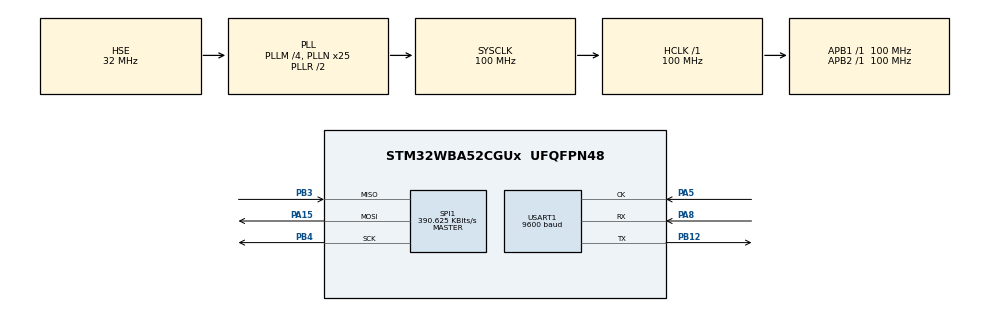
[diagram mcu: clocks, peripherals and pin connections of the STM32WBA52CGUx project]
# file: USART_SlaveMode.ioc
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CORTEX_M33_NS.userName=CORTEX_M33
Mcu.Family=STM32WBA
Mcu.Name=STM32WBA52CGUx
Mcu.Package=UFQFPN48
NVIC.PriorityGroup=NVIC_PRIORITYGROUP_4
OSC_IN.Mode=HSE-External-Oscillator
OSC_IN.Signal=RCC_OSC_IN
OSC_OUT.Mode=HSE-External-Oscillator
OSC_OUT.Signal=RCC_OSC_OUT
PA15\ (JTDI).GPIO_PuPd=GPIO_PULLDOWN
PA15\ (JTDI).GPIO_Speed=GPIO_SPEED_FREQ_HIGH
PA15\ (JTDI).Mode=Full_Duplex_Master
PA15\ (JTDI).Signal=SPI1_MOSI
PA5.GPIO_Speed=GPIO_SPEED_FREQ_HIGH
PA5.Mode=Synchronous Slave
PA5.Signal=USART1_CK
PA8.GPIO_Speed=GPIO_SPEED_FREQ_HIGH
PA8.Mode=Synchronous Slave
PA8.Signal=USART1_RX
PB12.GPIO_Speed=GPIO_SPEED_FREQ_HIGH
PB12.Mode=Synchronous Slave
PB12.Signal=USART1_TX
PB3\ (JTDO/TRACESWO).GPIO_PuPd=GPIO_PULLDOWN
PB3\ (JTDO/TRACESWO).GPIO_Speed=GPIO_SPEED_FREQ_HIGH
PB3\ (JTDO/TRACESWO).Mode=Full_Duplex_Master
PB3\ (JTDO/TRACESWO).Signal=SPI1_MISO
PB4\ (NJTRST).GPIO_PuPd=GPIO_PULLDOWN
PB4\ (NJTRST).GPIO_Speed=GPIO_SPEED_FREQ_HIGH
PB4\ (NJTRST).Mode=Full_Duplex_Master
PB4\ (NJTRST).Signal=SPI1_SCK
ProjectManager.HeapSize=0x200
ProjectManager.StackSize=0x400
ProjectManager.TargetToolchain=EWARM V9.20
RCC.ADCFreq_Value=100000000
RCC.AHB5CLKDivider=DIV4
RCC.AHBFreq_Value=100000000
RCC.APB1Freq_Value=100000000
RCC.APB1TimFreq_Value=100000000
RCC.APB2Freq_Value=100000000
RCC.APB2TimFreq_Value=100000000
RCC.CortexFreq_Value=100000000
RCC.HCLKFreq_Value=100000000
RCC.HSE_VALUE=32000000
RCC.HSI_VALUE=16000000
RCC.LSE_VALUE=32768
RCC.PLLFRACN=0
RCC.PLLM=4
RCC.PLLN=25
RCC.PLLSourceVirtual=RCC_PLLSOURCE_HSE
RCC.SYSCLKFreq_VALUE=100000000
RCC.SYSCLKSourceVirtual=RCC_SYSCLKSOURCE_PLLCLK
RCC.VCOOutputFreq_Value=200000000
SPI1.BaudRatePrescaler=SPI_BAUDRATEPRESCALER_256
SPI1.CalculateBaudRate=390.625 KBits/s
SPI1.DataSize=SPI_DATASIZE_8BIT
SPI1.Direction=SPI_DIRECTION_2LINES
SPI1.FirstBit=SPI_FIRSTBIT_LSB
SPI1.Mode=SPI_MODE_MASTER
SPI1.NSSPMode=SPI_NSS_PULSE_DISABLE
SPI1.VirtualType=VM_MASTER
USART1.BaudRate=9600
USART1.CLKLastBit=USART_LASTBIT_ENABLE
USART1.VirtualMode-Synchronous\ Slave=VM_SYNC
VP_ICACHE_VS_ICACHE.Mode=DirectMappedCache
VP_PWR_VS_SECSignals.Mode=Security/Privilege
board=custom

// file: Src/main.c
/* USER CODE BEGIN Header */
/**
  ******************************************************************************
  * @file    USART/USART_SlaveMode/Src/main.c
  * @author  MCD Application Team
  * @brief   This sample code shows how to use USART HAL API (USART instance)
  *          to set up a USART-SPI communication.
  *          Two boards are used, one configured as a SPI master and the second
  *          one configured as an USART slave.
  ******************************************************************************
  * @attention
  *
  * Copyright (c) 2022 STMicroelectronics.
  * All rights reserved.
  *
  * This software is licensed under terms that can be found in the LICENSE file
  * in the root directory of this software component.
  * If no LICENSE file comes with this software, it is provided AS-IS.
  *
  ******************************************************************************
  */
/* USER CODE END Header */
#include "main.h"

/* USER CODE BEGIN PD */
#define SLAVE_BOARD
/* USER CODE END PD */

SPI_HandleTypeDef hspi1;

USART_HandleTypeDef husart1;

/* USER CODE BEGIN PV */
__IO uint32_t UserButtonStatus = 0; /* set to 1 after User Button interrupt */

/* Buffer used for transmission */
uint8_t aTxBuffer[] = " **** USART_SlaveMode ****  **** USART_SlaveMode ****  **** USART_SlaveMode **** ";

/* Buffer used for reception */
uint8_t aRxBuffer[RXBUFFERSIZE];
/* USER CODE END PV */

void SystemClock_Config(void);
static void MX_GPIO_Init(void);
static void MX_SPI1_Init(void);
static void MX_USART1_Init(void);
static void MX_ICACHE_Init(void);
/* USER CODE BEGIN PFP */
static uint16_t Buffercmp(uint8_t* pBuffer1, uint8_t* pBuffer2, uint16_t BufferLength);
/* USER CODE END PFP */

int main(void)
{
  /* USER CODE BEGIN 1 */
  /* STM32WBAxx HAL library initialization:
       - Systick timer is configured by default as source of time base, but user
             can eventually implement his proper time base source (a general purpose
             timer for example or other time source), keeping in mind that Time base
             duration should be kept 1ms since PPP_TIMEOUT_VALUEs are defined and
             handled in milliseconds basis.
       - Set NVIC Group Priority to 4
       - Low Level Initialization
     */
  /* USER CODE END 1 */

  /* MCU Configuration--------------------------------------------------------*/

  /* Reset of all peripherals, Initializes the Flash interface and the Systick. */
  HAL_Init();

  /* Configure the system clock */
  SystemClock_Config();

  /* USER CODE BEGIN SysInit */
  /* Initialize BSP LEDs */
  BSP_LED_Init(LD2);
  BSP_LED_Init(LD3);
  /* USER CODE END SysInit */

  /* Initialize all configured peripherals */
  MX_GPIO_Init();
  MX_SPI1_Init();
  MX_USART1_Init();
  MX_ICACHE_Init();
  /* USER CODE BEGIN 2 */

#ifdef SLAVE_BOARD

  /*##-1- Start the transmission/reception process ###########################*/
  if(HAL_USART_TransmitReceive(&husart1, (uint8_t*)aTxBuffer, (uint8_t*)aRxBuffer, TXBUFFERSIZE, 0x1FFFFFF)!= HAL_OK)
  {
    Error_Handler();
  }

#else

  /*##-1- Configure the user button ##########################################*/

  /* Configure User push-button in Interrupt mode */
  BSP_PB_Init(B1, BUTTON_MODE_EXTI);

  /* Wait for User push-button press before starting the Communication.
     In the meantime, LD2 is blinking */
  while(UserButtonStatus == 0)
  {
    /* Toggle LD2 */
    BSP_LED_Toggle(LD2);
    HAL_Delay(100);
  }

  BSP_LED_Off(LD2);

  /*##-2- Start the transmission/reception process ###########################*/
  if(HAL_SPI_TransmitReceive(&hspi1, (uint8_t*)aTxBuffer, (uint8_t*)aRxBuffer, TXBUFFERSIZE, 5000)!= HAL_OK)
  {
    Error_Handler();
  }

#endif /* SLAVE_BOARD */

  /*##-3- Compare the sent and received buffers ##############################*/
  if(Buffercmp((uint8_t*)aTxBuffer,(uint8_t*)aRxBuffer,RXBUFFERSIZE))
  {
    Error_Handler();
  }

  /* Turn on LD2 if test passes then enter infinite loop */
  BSP_LED_On(LD2);

  /* The SPI Master board receives the message and sends it back */

  /* USER CODE END 2 */

  /* Infinite loop */
  while (1)
  {

  }
}

void SystemClock_Config(void)
{
  RCC_OscInitTypeDef RCC_OscInitStruct = {0};
  RCC_ClkInitTypeDef RCC_ClkInitStruct = {0};

  /** Configure the main internal regulator output voltage
  */
  if (HAL_PWREx_ControlVoltageScaling(PWR_REGULATOR_VOLTAGE_SCALE1) != HAL_OK)
  {
    Error_Handler();
  }

  /** Initializes the CPU, AHB and APB busses clocks
  */
  RCC_OscInitStruct.OscillatorType = RCC_OSCILLATORTYPE_HSE;
  RCC_OscInitStruct.HSEState = RCC_HSE_ON;
  RCC_OscInitStruct.HSEDiv = RCC_HSE_DIV1;
  RCC_OscInitStruct.PLL1.PLLState = RCC_PLL_ON;
  RCC_OscInitStruct.PLL1.PLLSource = RCC_PLLSOURCE_HSE;
  RCC_OscInitStruct.PLL1.PLLM = 4;
  RCC_OscInitStruct.PLL1.PLLN = 25;
  RCC_OscInitStruct.PLL1.PLLP = 2;
  RCC_OscInitStruct.PLL1.PLLQ = 2;
  RCC_OscInitStruct.PLL1.PLLR = 2;
  RCC_OscInitStruct.PLL1.PLLFractional = 0;
  if (HAL_RCC_OscConfig(&RCC_OscInitStruct) != HAL_OK)
  {
    Error_Handler();
  }

  /** Initializes the CPU, AHB and APB busses clocks
  */
  RCC_ClkInitStruct.ClockType = RCC_CLOCKTYPE_HCLK|RCC_CLOCKTYPE_SYSCLK
                              |RCC_CLOCKTYPE_PCLK1|RCC_CLOCKTYPE_PCLK2
                              |RCC_CLOCKTYPE_PCLK7|RCC_CLOCKTYPE_HCLK5;
  RCC_ClkInitStruct.SYSCLKSource = RCC_SYSCLKSOURCE_PLLCLK;
  RCC_ClkInitStruct.AHBCLKDivider = RCC_SYSCLK_DIV1;
  RCC_ClkInitStruct.APB1CLKDivider = RCC_HCLK_DIV1;
  RCC_ClkInitStruct.APB2CLKDivider = RCC_HCLK_DIV1;
  RCC_ClkInitStruct.APB7CLKDivider = RCC_HCLK_DIV1;
  RCC_ClkInitStruct.AHB5_PLL1_CLKDivider = RCC_SYSCLK_PLL1_DIV4;
  RCC_ClkInitStruct.AHB5_HSEHSI_CLKDivider = RCC_SYSCLK_HSEHSI_DIV1;

  if (HAL_RCC_ClockConfig(&RCC_ClkInitStruct, FLASH_LATENCY_3) != HAL_OK)
  {
    Error_Handler();
  }
}

static void MX_ICACHE_Init(void)
{

  /** Enable instruction cache in 1-way (direct mapped cache)
  */
  if (HAL_ICACHE_ConfigAssociativityMode(ICACHE_1WAY) != HAL_OK)
  {
    Error_Handler();
  }
  if (HAL_ICACHE_Enable() != HAL_OK)
  {
    Error_Handler();
  }

}

static void MX_SPI1_Init(void)
{

  SPI_AutonomousModeConfTypeDef HAL_SPI_AutonomousMode_Cfg_Struct = {0};

  /* SPI1 parameter configuration*/
  hspi1.Instance = SPI1;
  hspi1.Init.Mode = SPI_MODE_MASTER;
  hspi1.Init.Direction = SPI_DIRECTION_2LINES;
  hspi1.Init.DataSize = SPI_DATASIZE_8BIT;
  hspi1.Init.CLKPolarity = SPI_POLARITY_LOW;
  hspi1.Init.CLKPhase = SPI_PHASE_1EDGE;
  hspi1.Init.NSS = SPI_NSS_SOFT;
  hspi1.Init.BaudRatePrescaler = SPI_BAUDRATEPRESCALER_256;
  hspi1.Init.FirstBit = SPI_FIRSTBIT_LSB;
  hspi1.Init.TIMode = SPI_TIMODE_DISABLE;
  hspi1.Init.CRCCalculation = SPI_CRCCALCULATION_DISABLE;
  hspi1.Init.CRCPolynomial = 0x7;
  hspi1.Init.NSSPMode = SPI_NSS_PULSE_DISABLE;
  hspi1.Init.NSSPolarity = SPI_NSS_POLARITY_LOW;
  hspi1.Init.FifoThreshold = SPI_FIFO_THRESHOLD_01DATA;
  hspi1.Init.MasterSSIdleness = SPI_MASTER_SS_IDLENESS_00CYCLE;
  hspi1.Init.MasterInterDataIdleness = SPI_MASTER_INTERDATA_IDLENESS_00CYCLE;
  hspi1.Init.MasterReceiverAutoSusp = SPI_MASTER_RX_AUTOSUSP_DISABLE;
  hspi1.Init.MasterKeepIOState = SPI_MASTER_KEEP_IO_STATE_DISABLE;
  hspi1.Init.IOSwap = SPI_IO_SWAP_DISABLE;
  hspi1.Init.ReadyMasterManagement = SPI_RDY_MASTER_MANAGEMENT_INTERNALLY;
  hspi1.Init.ReadyPolarity = SPI_RDY_POLARITY_HIGH;
  if (HAL_SPI_Init(&hspi1) != HAL_OK)
  {
    Error_Handler();
  }
  HAL_SPI_AutonomousMode_Cfg_Struct.TriggerState = SPI_AUTO_MODE_DISABLE;
  if (HAL_SPIEx_SetConfigAutonomousMode(&hspi1, &HAL_SPI_AutonomousMode_Cfg_Struct) != HAL_OK)
  {
    Error_Handler();
  }

}

static void MX_USART1_Init(void)
{

  husart1.Instance = USART1;
  husart1.Init.BaudRate = 9600;
  husart1.Init.WordLength = USART_WORDLENGTH_8B;
  husart1.Init.StopBits = USART_STOPBITS_1;
  husart1.Init.Parity = USART_PARITY_NONE;
  husart1.Init.Mode = USART_MODE_TX_RX;
  husart1.Init.CLKPolarity = USART_POLARITY_LOW;
  husart1.Init.CLKPhase = USART_PHASE_1EDGE;
  husart1.Init.CLKLastBit = USART_LASTBIT_ENABLE;
  husart1.Init.ClockPrescaler = USART_PRESCALER_DIV1;
  husart1.SlaveMode = USART_SLAVEMODE_ENABLE;
  if (HAL_USART_Init(&husart1) != HAL_OK)
  {
    Error_Handler();
  }
  if (HAL_USARTEx_SetTxFifoThreshold(&husart1, USART_TXFIFO_THRESHOLD_1_8) != HAL_OK)
  {
    Error_Handler();
  }
  if (HAL_USARTEx_SetRxFifoThreshold(&husart1, USART_RXFIFO_THRESHOLD_1_8) != HAL_OK)
  {
    Error_Handler();
  }
  if (HAL_USARTEx_DisableFifoMode(&husart1) != HAL_OK)
  {
    Error_Handler();
  }
  if (HAL_USARTEx_EnableSlaveMode(&husart1) != HAL_OK)
  {
    Error_Handler();
  }

}

static void MX_GPIO_Init(void)
{

  /* GPIO Ports Clock Enable */
  __HAL_RCC_GPIOB_CLK_ENABLE();
  __HAL_RCC_GPIOA_CLK_ENABLE();

}

/* USER CODE BEGIN 4 */
/**
  * @brief EXTI line detection callbacks
  * @param GPIO_Pin: Specifies the pins connected EXTI line
  * @retval None
  */
void HAL_GPIO_EXTI_Falling_Callback(uint16_t GPIO_Pin)
{
  if (GPIO_Pin == B1_PIN)
  {
    UserButtonStatus = 1;
  }
}

/**
  * @brief  Compares two buffers.
  * @param  pBuffer1, pBuffer2: buffers to be compared.
  * @param  BufferLength: buffer's length
  * @retval 0  : pBuffer1 identical to pBuffer2
  *         >0 : pBuffer1 differs from pBuffer2
  */
static uint16_t Buffercmp(uint8_t* pBuffer1, uint8_t* pBuffer2, uint16_t BufferLength)
{
  while (BufferLength--)
  {
    if ((*pBuffer1) != *pBuffer2)
    {
      return BufferLength;
    }
    pBuffer1++;
    pBuffer2++;
  }

  return 0;
}
/* USER CODE END 4 */

void Error_Handler(void)
{
  /* USER CODE BEGIN Error_Handler_Debug */
  /* User can add his own implementation to report the HAL error return state */
  while(1)
  {
    /* LD3 is blinking */
    BSP_LED_Toggle(LD3);
    HAL_Delay(500);
  }
  /* USER CODE END Error_Handler_Debug */
}
